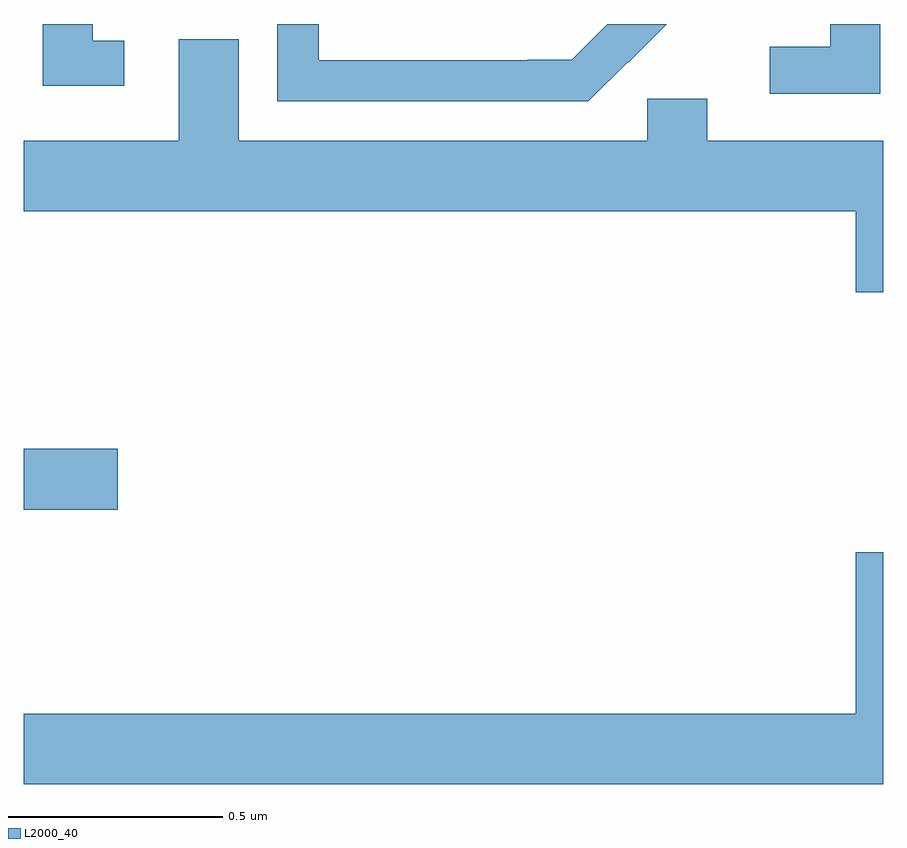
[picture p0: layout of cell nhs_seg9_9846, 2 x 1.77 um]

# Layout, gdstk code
import gdstk
lib = gdstk.Library(unit=1e-6, precision=1e-09)
def R(c, l, rs):  # rectangles x0, y0, x1, y1
    for r in rs: c.add(gdstk.rectangle(r[:2], r[2:], *l))
def P(c, l, *ps):  # polygons
    for p in ps: c.add(gdstk.Polygon(p, *l))
L2000_40 = (2000, 40)

nhs_seg9_9846 = lib.new_cell('nhs_seg9_9846')
R(nhs_seg9_9846, L2000_40, [(235,1218.37,235.219,1218.512)])
P(nhs_seg9_9846, L2000_40, [(236.405,1219.411),(236.406,1219.41),(236.496,1219.5),(236.358,1219.5),(236.275,1219.417),(236.171,1219.417),(236.171,1219.416),(235.687,1219.416),(235.687,1219.5),(235.59,1219.5),(235.59,1219.32),(236.314,1219.32)],
  [(235.234,1219.461),(235.161,1219.461),(235.161,1219.5),(235.045,1219.5),(235.045,1219.356),(235.234,1219.356)],
  [(236.993,1219.5),(236.876,1219.5),(236.876,1219.447),(236.736,1219.447),(236.736,1219.338),(236.993,1219.338)],
  [(237,1219.228),(236.59,1219.228),(236.59,1219.326),(236.451,1219.326),(236.451,1219.228),(235.501,1219.228),(235.501,1219.464),(235.361,1219.464),(235.361,1219.228),(235,1219.228),(235,1219.064),(236.936,1219.064),(236.936,1218.876),(237,1218.876)],
  [(237,1218.271),(236.936,1218.271),(236.936,1217.896),(235,1217.896),(235,1217.732),(237,1217.732)])

lib.write_gds('nhs_seg9_9846.gds')
